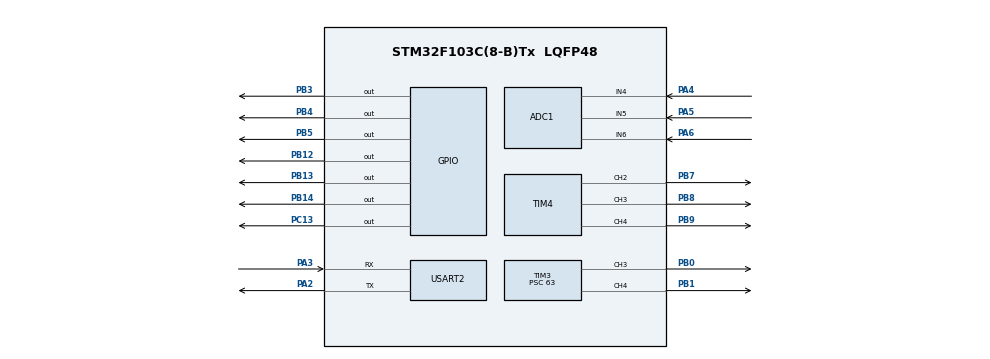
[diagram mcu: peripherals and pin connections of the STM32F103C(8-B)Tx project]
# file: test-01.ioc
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ADC1.Channel-0\#ChannelRegularConversion=ADC_CHANNEL_4
ADC1.NbrOfConversionFlag=1
ADC1.Rank-0\#ChannelRegularConversion=1
ADC1.SamplingTime-0\#ChannelRegularConversion=ADC_SAMPLETIME_1CYCLE_5
ADC1.master=1
Dma.Request0=USART2_RX
Dma.USART2_RX.0.Direction=DMA_PERIPH_TO_MEMORY
Dma.USART2_RX.0.Instance=DMA1_Channel6
Dma.USART2_RX.0.MemDataAlignment=DMA_MDATAALIGN_BYTE
Dma.USART2_RX.0.MemInc=DMA_MINC_ENABLE
Dma.USART2_RX.0.Mode=DMA_NORMAL
Dma.USART2_RX.0.PeriphDataAlignment=DMA_PDATAALIGN_BYTE
Dma.USART2_RX.0.PeriphInc=DMA_PINC_DISABLE
Dma.USART2_RX.0.Priority=DMA_PRIORITY_LOW
Mcu.Family=STM32F1
Mcu.Name=STM32F103C(8-B)Tx
Mcu.Package=LQFP48
NVIC.DMA1_Channel6_IRQn=true\:0\:0\:false\:false\:true\:false\:true\:true
NVIC.PriorityGroup=NVIC_PRIORITYGROUP_4
NVIC.USART2_IRQn=true\:0\:0\:false\:false\:true\:true\:true\:true
PA13.Mode=Serial_Wire
PA13.Signal=SYS_JTMS-SWDIO
PA14.Mode=Serial_Wire
PA14.Signal=SYS_JTCK-SWCLK
PA2.Mode=Asynchronous
PA2.Signal=USART2_TX
PA3.Mode=Asynchronous
PA3.Signal=USART2_RX
PA4.Signal=ADCx_IN4
PA5.Signal=ADCx_IN5
PA6.Signal=ADCx_IN6
PB0.Signal=S_TIM3_CH3
PB1.Signal=S_TIM3_CH4
PB12.Signal=GPIO_Output
PB13.Signal=GPIO_Output
PB14.Signal=GPIO_Output
PB3.Signal=GPIO_Output
PB4.Signal=GPIO_Output
PB5.Signal=GPIO_Output
PB7.Signal=S_TIM4_CH2
PB8.Signal=S_TIM4_CH3
PB9.Signal=S_TIM4_CH4
PC13-TAMPER-RTC.Signal=GPIO_Output
PD0-OSC_IN.Mode=HSE-External-Oscillator
PD0-OSC_IN.Signal=RCC_OSC_IN
PD1-OSC_OUT.Mode=HSE-External-Oscillator
PD1-OSC_OUT.Signal=RCC_OSC_OUT
ProjectManager.HeapSize=0x200
ProjectManager.StackSize=0x400
ProjectManager.TargetToolchain=STM32CubeIDE
RCC.APB1Freq_Value=8000000
RCC.APB2Freq_Value=8000000
SH.ADCx_IN4.0=ADC1_IN4,IN4
SH.ADCx_IN5.0=ADC1_IN5,IN5
SH.ADCx_IN6.0=ADC1_IN6,IN6
SH.S_TIM3_CH3.0=TIM3_CH3,PWM Generation3 CH3
SH.S_TIM3_CH4.0=TIM3_CH4,PWM Generation4 CH4
SH.S_TIM4_CH2.0=TIM4_CH2,PWM Generation2 CH2
SH.S_TIM4_CH3.0=TIM4_CH3,PWM Generation3 CH3
SH.S_TIM4_CH4.0=TIM4_CH4,PWM Generation4 CH4
TIM3.Channel-PWM\ Generation3\ CH3=TIM_CHANNEL_3
TIM3.Channel-PWM\ Generation4\ CH4=TIM_CHANNEL_4
TIM3.Period=9999
TIM3.Prescaler=63
TIM4.Channel-PWM\ Generation2\ CH2=TIM_CHANNEL_2
TIM4.Channel-PWM\ Generation3\ CH3=TIM_CHANNEL_3
TIM4.Channel-PWM\ Generation4\ CH4=TIM_CHANNEL_4
USART2.VirtualMode=VM_ASYNC
board=custom

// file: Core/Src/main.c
/* USER CODE BEGIN Header */
/**
  ******************************************************************************
  * @file           : main.c
  * @brief          : Main program body
  ******************************************************************************
  * @attention
  *
  * Copyright (c) 2024 STMicroelectronics.
  * All rights reserved.
  *
  * This software is licensed under terms that can be found in the LICENSE file
  * in the root directory of this software component.
  * If no LICENSE file comes with this software, it is provided AS-IS.
  *
  ******************************************************************************
  */
/* USER CODE END Header */
#include "main.h"

 ADC_HandleTypeDef hadc1;

TIM_HandleTypeDef htim3;
TIM_HandleTypeDef htim4;

UART_HandleTypeDef huart2;
DMA_HandleTypeDef hdma_usart2_rx;

void SystemClock_Config(void);
static void MX_GPIO_Init(void);
static void MX_ADC1_Init(void);
static void MX_TIM4_Init(void);
static void MX_DMA_Init(void);
static void MX_USART2_UART_Init(void);
static void MX_TIM3_Init(void);

/* USER CODE BEGIN 0 */
#define LED_ON    HAL_GPIO_WritePin(GPIOC, GPIO_PIN_13, 0)
#define LED_OFF   HAL_GPIO_WritePin(GPIOC, GPIO_PIN_13, 1)

#define MAX_SPEED 65000

#define RX2_Size 9
uint8_t Rx2_Buff[RX2_Size];

uint32_t Motor1_FB = 0;
uint32_t Motor2_FB = 0;
uint32_t Motor3_FB = 0;
int Motor4_FB = 0;
int Motor1_SP = 500;
int Motor2_SP = 2400;
int Motor3_SP = 2400;
int Motor4_SP = 0;
int Motor5_SP = 200;
int Motor6_SP = 100;
int error1 = 0;
int error2 = 0;
int error3 = 0;
int error4 = 0;
int start_time;
int count_grip = 0;

uint32_t read_adc(uint32_t channel){
	ADC_ChannelConfTypeDef sConfig = {0};
	sConfig.SamplingTime = ADC_SAMPLETIME_13CYCLES_5;
	sConfig.Channel = channel;
	sConfig.Rank = 1;
	HAL_ADC_ConfigChannel(&hadc1, &sConfig);
	HAL_ADC_Start(&hadc1);
	HAL_ADC_PollForConversion(&hadc1, HAL_MAX_DELAY);
	uint32_t val = HAL_ADC_GetValue(&hadc1);
	return val;
}

void motor1(int v){
	if(v >  MAX_SPEED)  v =  MAX_SPEED;
	if(v < -MAX_SPEED)  v = -MAX_SPEED;
	// ------------- Motor L1
	if(v >= 0){
		HAL_GPIO_WritePin(GPIOB, GPIO_PIN_4, 0);
		TIM4->CCR3 = v;
	}
	else{
		HAL_GPIO_WritePin(GPIOB, GPIO_PIN_4, 1);
		TIM4->CCR3 = v+65535;
	}
}
void motor2(int v){
	if(v >  MAX_SPEED)  v =  MAX_SPEED;
	if(v < -MAX_SPEED)  v = -MAX_SPEED;
	// ------------- Motor L1
	if(v >= 0){
		HAL_GPIO_WritePin(GPIOB, GPIO_PIN_5, 0);
		TIM4->CCR4 = v;
	}
	else{
		HAL_GPIO_WritePin(GPIOB, GPIO_PIN_5, 1);
		TIM4->CCR4 = v+65535;
	}
}

void motor3(int v){
	if(v >  MAX_SPEED)  v =  MAX_SPEED;
	if(v < -MAX_SPEED)  v = -MAX_SPEED;
	// ------------- Motor L1
	if(v >= 0){
		HAL_GPIO_WritePin(GPIOB, GPIO_PIN_3, 0);
		TIM4->CCR2 = v;
	}
	else{
		HAL_GPIO_WritePin(GPIOB, GPIO_PIN_3, 1);
		TIM4->CCR2 = v+65535;
	}
}
void motor4(int sp){
	if(sp < Motor4_FB){
		HAL_GPIO_WritePin(GPIOB, GPIO_PIN_13, 0); // ENA
		HAL_GPIO_WritePin(GPIOB, GPIO_PIN_12, 0); // DIR
		HAL_GPIO_WritePin(GPIOB, GPIO_PIN_14, 1); // PUL
		HAL_Delay(5);
		HAL_GPIO_WritePin(GPIOB, GPIO_PIN_14, 0); // PUL
		HAL_Delay(5);
		Motor4_FB--;
	}else if(sp > Motor4_FB){
		HAL_GPIO_WritePin(GPIOB, GPIO_PIN_13, 0); // ENA
		HAL_GPIO_WritePin(GPIOB, GPIO_PIN_12, 1); // DIR
		HAL_GPIO_WritePin(GPIOB, GPIO_PIN_14, 1); // PUL
		HAL_Delay(5);
		HAL_GPIO_WritePin(GPIOB, GPIO_PIN_14, 0); // PUL
		HAL_Delay(5);
		Motor4_FB++;
	}else{
		HAL_GPIO_WritePin(GPIOB, GPIO_PIN_12, 1); // DIR
		HAL_GPIO_WritePin(GPIOB, GPIO_PIN_13, 1); // ENA
		HAL_GPIO_WritePin(GPIOB, GPIO_PIN_14, 1); // PUL
	}
}
void motor5(int val){
	__HAL_TIM_SET_COMPARE(&htim3, TIM_CHANNEL_3, val);
}
void motor6(int val){
	__HAL_TIM_SET_COMPARE(&htim3, TIM_CHANNEL_4, val);
}

void HAL_GPIO_EXTI_Callback(uint16_t GPIO_Pin)
{
  if(GPIO_Pin == GPIO_PIN_0) {
	  if(!HAL_GPIO_ReadPin(GPIOA, GPIO_PIN_0)){
		  //motor1(20000);
		  Motor1_SP = 1000;
	  }
	  else {
		  Motor1_SP = 2000;
//		  motor1(0);
	  }
  } else {
	  if(!HAL_GPIO_ReadPin(GPIOA, GPIO_PIN_1)){
		  motor1(-20000);
	  }
	  else motor1(0);
  }
}
void HAL_UARTEx_RxEventCallback(UART_HandleTypeDef *huart, uint16_t Size){
	LED_ON;
	if(huart->Instance == USART2){
		if(Rx2_Buff[0] == 'A') {
		  Motor1_SP = Rx2_Buff[1]*255 + Rx2_Buff[2];
		  ////////////////
		  Motor2_SP = Rx2_Buff[3]*255 + Rx2_Buff[4];
		  ////////////////
		  Motor3_SP = Rx2_Buff[5]*255 + Rx2_Buff[6];
		  ////////////////
		  Motor4_SP = Rx2_Buff[7]*255 + Rx2_Buff[8];
		}
		if(Rx2_Buff[0] == 'S') {
			if(Rx2_Buff[1] == '1') {
				Motor5_SP = Rx2_Buff[2]*255 + Rx2_Buff[3];
			}
			if(Rx2_Buff[1] == '2') {
				Motor6_SP = Rx2_Buff[2]*255 + Rx2_Buff[3];
			}
		}
		if(Rx2_Buff[0] == 'R') {
			int8_t tx_data[] = {
				(uint8_t) Motor1_FB  >> 8, (uint8_t) Motor1_FB  & 0xFF,
				(uint8_t) Motor2_FB  >> 8, (uint8_t) Motor2_FB  & 0xFF,
				(uint8_t) Motor3_FB  >> 8, (uint8_t) Motor3_FB  & 0xFF,
				(uint8_t) Motor4_FB  >> 8, (uint8_t) Motor4_FB  & 0xFF
			};
			HAL_UART_Transmit(&huart2, tx_data, 8, PHY_FULLDUPLEX_10M);
		}
		HAL_UARTEx_ReceiveToIdle_DMA(&huart2, Rx2_Buff, RX2_Size);
		__HAL_DMA_DISABLE_IT(&hdma_usart2_rx, DMA_IT_HT);
	}
}
/* USER CODE END 0 */

int main(void)
{

  /* MCU Configuration--------------------------------------------------------*/

  /* Reset of all peripherals, Initializes the Flash interface and the Systick. */
  HAL_Init();

  /* Configure the system clock */
  SystemClock_Config();

  /* Initialize all configured peripherals */
  MX_GPIO_Init();
  MX_ADC1_Init();
  MX_TIM4_Init();
  MX_DMA_Init();
  MX_USART2_UART_Init();
  MX_TIM3_Init();
  /* USER CODE BEGIN 2 */

	HAL_TIM_PWM_Start(&htim4, TIM_CHANNEL_2);
	HAL_TIM_PWM_Start(&htim4, TIM_CHANNEL_3);
	HAL_TIM_PWM_Start(&htim4, TIM_CHANNEL_4);
	HAL_TIM_PWM_Start(&htim3, TIM_CHANNEL_3);
	HAL_TIM_PWM_Start(&htim3, TIM_CHANNEL_4);
	HAL_ADC_Start(&hadc1);
	motor1(0);
	motor2(0);
	start_time = HAL_GetTick();

	__HAL_TIM_SET_COMPARE(&htim3, TIM_CHANNEL_3, 250);
	__HAL_TIM_SET_COMPARE(&htim3, TIM_CHANNEL_4, 250);
//	  __HAL_TIM_SET_COMPARE(&htim3, TIM_CHANNEL_3, 750);
//	  __HAL_TIM_SET_COMPARE(&htim3, TIM_CHANNEL_4, 750);

	///////////////////// default
	Motor1_SP = 3800;
	Motor2_SP = 3500;
	Motor3_SP = 2000;

	///////////////////// Grab
//	Motor1_SP = 2700;
//	Motor2_SP = 1300;
//	Motor3_SP = 1100;

//	HAL_GPIO_WritePin(GPIOB, GPIO_PIN_12, 0); // DIR
//	HAL_GPIO_WritePin(GPIOB, GPIO_PIN_13, 0); // ENA
//	HAL_GPIO_WritePin(GPIOB, GPIO_PIN_14, 0); // PUL
//	for(int j = 0; j<10; j++){
//		HAL_GPIO_WritePin(GPIOB, GPIO_PIN_12, 0); // DIR
//		for(int i=0; i<50; i++){
//			HAL_GPIO_WritePin(GPIOB, GPIO_PIN_14, 1); // PUL
//			HAL_Delay(5);
//			HAL_GPIO_WritePin(GPIOB, GPIO_PIN_14, 0); // PUL
//			HAL_Delay(5);
//		}
//		HAL_GPIO_WritePin(GPIOB, GPIO_PIN_12, 1); // DIR
//		for(int i=0; i<50; i++){
//			HAL_GPIO_WritePin(GPIOB, GPIO_PIN_14, 1); // PUL
//			HAL_Delay(5);
//			HAL_GPIO_WritePin(GPIOB, GPIO_PIN_14, 0); // PUL
//			HAL_Delay(5);
//		}
//	}

	HAL_GPIO_WritePin(GPIOB, GPIO_PIN_12, 1); // DIR
	HAL_GPIO_WritePin(GPIOB, GPIO_PIN_13, 1); // ENA
	HAL_GPIO_WritePin(GPIOB, GPIO_PIN_14, 1); // PUL
	motor1(0);
	motor2(0);
	motor3(0);
	HAL_UARTEx_ReceiveToIdle_DMA(&huart2, Rx2_Buff, RX2_Size);
  __HAL_DMA_DISABLE_IT(&hdma_usart2_rx, DMA_IT_HT);
  /* USER CODE END 2 */

  /* Infinite loop */
  /* USER CODE BEGIN WHILE */
  while (1)
  {

//	  __HAL_TIM_SET_COMPARE(&htim3, TIM_CHANNEL_4, 750);
//	  HAL_Delay(3000);
//	  __HAL_TIM_SET_COMPARE(&htim3, TIM_CHANNEL_4, 250);
//	  HAL_Delay(3000);

//	  if(HAL_GetTick() - start_time > 20000){
//		  ///////////////////// default
//			Motor1_SP = 3800;
//			Motor2_SP = 3500;
//			Motor3_SP = 2000;
//		  start_time = HAL_GetTick();
//		  count_grip++;
//	  }
//	  else if(HAL_GetTick() - start_time > 7000){
//		  ///////////////////// Grab
//		  	Motor1_SP = 1600;
//		  	Motor2_SP = 2100;
//		  	Motor3_SP = 1800;
//		  if(HAL_GetTick() - start_time > 12000){
//			if(count_grip%2 == 0){
//				__HAL_TIM_SET_COMPARE(&htim3, TIM_CHANNEL_4, 750);
//			}else{
//				__HAL_TIM_SET_COMPARE(&htim3, TIM_CHANNEL_4, 250);
//			}
//		  }
//	  }
	Motor1_FB = read_adc(6);
	Motor2_FB = read_adc(5);
	Motor3_FB = read_adc(4);
	error1 = (Motor1_FB - Motor1_SP)*80;
	if(error1 > -15000 && error1 < 15000) error1 = 0;
	motor1(error1);

	error2 = -(Motor2_FB - Motor2_SP)*70;
	if(error2 > -20000 && error2 < 20000) error2 = 0;
	motor2(error2);

	error3 = (Motor3_FB - Motor3_SP)*90;
	if(error3 > -15000 && error3 < 15000) error3 = 0;
	motor3(error3);

	motor4(Motor4_SP);
	motor5(Motor5_SP);
	motor6(Motor6_SP);

    /* USER CODE END WHILE */

  }
}

void SystemClock_Config(void)
{
  RCC_OscInitTypeDef RCC_OscInitStruct = {0};
  RCC_ClkInitTypeDef RCC_ClkInitStruct = {0};
  RCC_PeriphCLKInitTypeDef PeriphClkInit = {0};

  /** Initializes the RCC Oscillators according to the specified parameters
  * in the RCC_OscInitTypeDef structure.
  */
  RCC_OscInitStruct.OscillatorType = RCC_OSCILLATORTYPE_HSI;
  RCC_OscInitStruct.HSIState = RCC_HSI_ON;
  RCC_OscInitStruct.HSICalibrationValue = RCC_HSICALIBRATION_DEFAULT;
  RCC_OscInitStruct.PLL.PLLState = RCC_PLL_NONE;
  if (HAL_RCC_OscConfig(&RCC_OscInitStruct) != HAL_OK)
  {
    Error_Handler();
  }

  /** Initializes the CPU, AHB and APB buses clocks
  */
  RCC_ClkInitStruct.ClockType = RCC_CLOCKTYPE_HCLK|RCC_CLOCKTYPE_SYSCLK
                              |RCC_CLOCKTYPE_PCLK1|RCC_CLOCKTYPE_PCLK2;
  RCC_ClkInitStruct.SYSCLKSource = RCC_SYSCLKSOURCE_HSI;
  RCC_ClkInitStruct.AHBCLKDivider = RCC_SYSCLK_DIV1;
  RCC_ClkInitStruct.APB1CLKDivider = RCC_HCLK_DIV1;
  RCC_ClkInitStruct.APB2CLKDivider = RCC_HCLK_DIV1;

  if (HAL_RCC_ClockConfig(&RCC_ClkInitStruct, FLASH_LATENCY_0) != HAL_OK)
  {
    Error_Handler();
  }
  PeriphClkInit.PeriphClockSelection = RCC_PERIPHCLK_ADC;
  PeriphClkInit.AdcClockSelection = RCC_ADCPCLK2_DIV2;
  if (HAL_RCCEx_PeriphCLKConfig(&PeriphClkInit) != HAL_OK)
  {
    Error_Handler();
  }
}

static void MX_ADC1_Init(void)
{

  ADC_ChannelConfTypeDef sConfig = {0};

  /** Common config
  */
  hadc1.Instance = ADC1;
  hadc1.Init.ScanConvMode = ADC_SCAN_DISABLE;
  hadc1.Init.ContinuousConvMode = DISABLE;
  hadc1.Init.DiscontinuousConvMode = DISABLE;
  hadc1.Init.ExternalTrigConv = ADC_SOFTWARE_START;
  hadc1.Init.DataAlign = ADC_DATAALIGN_RIGHT;
  hadc1.Init.NbrOfConversion = 1;
  if (HAL_ADC_Init(&hadc1) != HAL_OK)
  {
    Error_Handler();
  }

  /** Configure Regular Channel
  */
  sConfig.Channel = ADC_CHANNEL_4;
  sConfig.Rank = ADC_REGULAR_RANK_1;
  sConfig.SamplingTime = ADC_SAMPLETIME_1CYCLE_5;
  if (HAL_ADC_ConfigChannel(&hadc1, &sConfig) != HAL_OK)
  {
    Error_Handler();
  }

}

static void MX_TIM3_Init(void)
{

  TIM_MasterConfigTypeDef sMasterConfig = {0};
  TIM_OC_InitTypeDef sConfigOC = {0};

  htim3.Instance = TIM3;
  htim3.Init.Prescaler = 63;
  htim3.Init.CounterMode = TIM_COUNTERMODE_UP;
  htim3.Init.Period = 9999;
  htim3.Init.ClockDivision = TIM_CLOCKDIVISION_DIV1;
  htim3.Init.AutoReloadPreload = TIM_AUTORELOAD_PRELOAD_DISABLE;
  if (HAL_TIM_PWM_Init(&htim3) != HAL_OK)
  {
    Error_Handler();
  }
  sMasterConfig.MasterOutputTrigger = TIM_TRGO_RESET;
  sMasterConfig.MasterSlaveMode = TIM_MASTERSLAVEMODE_DISABLE;
  if (HAL_TIMEx_MasterConfigSynchronization(&htim3, &sMasterConfig) != HAL_OK)
  {
    Error_Handler();
  }
  sConfigOC.OCMode = TIM_OCMODE_PWM1;
  sConfigOC.Pulse = 0;
  sConfigOC.OCPolarity = TIM_OCPOLARITY_HIGH;
  sConfigOC.OCFastMode = TIM_OCFAST_DISABLE;
  if (HAL_TIM_PWM_ConfigChannel(&htim3, &sConfigOC, TIM_CHANNEL_3) != HAL_OK)
  {
    Error_Handler();
  }
  if (HAL_TIM_PWM_ConfigChannel(&htim3, &sConfigOC, TIM_CHANNEL_4) != HAL_OK)
  {
    Error_Handler();
  }
  HAL_TIM_MspPostInit(&htim3);

}

static void MX_TIM4_Init(void)
{

  TIM_MasterConfigTypeDef sMasterConfig = {0};
  TIM_OC_InitTypeDef sConfigOC = {0};

  htim4.Instance = TIM4;
  htim4.Init.Prescaler = 0;
  htim4.Init.CounterMode = TIM_COUNTERMODE_UP;
  htim4.Init.Period = 65535;
  htim4.Init.ClockDivision = TIM_CLOCKDIVISION_DIV1;
  htim4.Init.AutoReloadPreload = TIM_AUTORELOAD_PRELOAD_DISABLE;
  if (HAL_TIM_PWM_Init(&htim4) != HAL_OK)
  {
    Error_Handler();
  }
  sMasterConfig.MasterOutputTrigger = TIM_TRGO_RESET;
  sMasterConfig.MasterSlaveMode = TIM_MASTERSLAVEMODE_DISABLE;
  if (HAL_TIMEx_MasterConfigSynchronization(&htim4, &sMasterConfig) != HAL_OK)
  {
    Error_Handler();
  }
  sConfigOC.OCMode = TIM_OCMODE_PWM1;
  sConfigOC.Pulse = 0;
  sConfigOC.OCPolarity = TIM_OCPOLARITY_HIGH;
  sConfigOC.OCFastMode = TIM_OCFAST_DISABLE;
  if (HAL_TIM_PWM_ConfigChannel(&htim4, &sConfigOC, TIM_CHANNEL_2) != HAL_OK)
  {
    Error_Handler();
  }
  if (HAL_TIM_PWM_ConfigChannel(&htim4, &sConfigOC, TIM_CHANNEL_3) != HAL_OK)
  {
    Error_Handler();
  }
  if (HAL_TIM_PWM_ConfigChannel(&htim4, &sConfigOC, TIM_CHANNEL_4) != HAL_OK)
  {
    Error_Handler();
  }
  HAL_TIM_MspPostInit(&htim4);

}

static void MX_USART2_UART_Init(void)
{

  huart2.Instance = USART2;
  huart2.Init.BaudRate = 115200;
  huart2.Init.WordLength = UART_WORDLENGTH_8B;
  huart2.Init.StopBits = UART_STOPBITS_1;
  huart2.Init.Parity = UART_PARITY_NONE;
  huart2.Init.Mode = UART_MODE_TX_RX;
  huart2.Init.HwFlowCtl = UART_HWCONTROL_NONE;
  huart2.Init.OverSampling = UART_OVERSAMPLING_16;
  if (HAL_UART_Init(&huart2) != HAL_OK)
  {
    Error_Handler();
  }

}

static void MX_DMA_Init(void)
{

  /* DMA controller clock enable */
  __HAL_RCC_DMA1_CLK_ENABLE();

  /* DMA interrupt init */
  /* DMA1_Channel6_IRQn interrupt configuration */
  HAL_NVIC_SetPriority(DMA1_Channel6_IRQn, 0, 0);
  HAL_NVIC_EnableIRQ(DMA1_Channel6_IRQn);

}

static void MX_GPIO_Init(void)
{
  GPIO_InitTypeDef GPIO_InitStruct = {0};

  /* GPIO Ports Clock Enable */
  __HAL_RCC_GPIOC_CLK_ENABLE();
  __HAL_RCC_GPIOD_CLK_ENABLE();
  __HAL_RCC_GPIOA_CLK_ENABLE();
  __HAL_RCC_GPIOB_CLK_ENABLE();

  /*Configure GPIO pin Output Level */
  HAL_GPIO_WritePin(GPIOC, GPIO_PIN_13, GPIO_PIN_RESET);

  /*Configure GPIO pin Output Level */
  HAL_GPIO_WritePin(GPIOB, GPIO_PIN_12|GPIO_PIN_13|GPIO_PIN_14|GPIO_PIN_3
                          |GPIO_PIN_4|GPIO_PIN_5, GPIO_PIN_RESET);

  /*Configure GPIO pin : PC13 */
  GPIO_InitStruct.Pin = GPIO_PIN_13;
  GPIO_InitStruct.Mode = GPIO_MODE_OUTPUT_PP;
  GPIO_InitStruct.Pull = GPIO_NOPULL;
  GPIO_InitStruct.Speed = GPIO_SPEED_FREQ_LOW;
  HAL_GPIO_Init(GPIOC, &GPIO_InitStruct);

  /*Configure GPIO pins : PB12 PB13 PB14 PB3
                           PB4 PB5 */
  GPIO_InitStruct.Pin = GPIO_PIN_12|GPIO_PIN_13|GPIO_PIN_14|GPIO_PIN_3
                          |GPIO_PIN_4|GPIO_PIN_5;
  GPIO_InitStruct.Mode = GPIO_MODE_OUTPUT_PP;
  GPIO_InitStruct.Pull = GPIO_NOPULL;
  GPIO_InitStruct.Speed = GPIO_SPEED_FREQ_LOW;
  HAL_GPIO_Init(GPIOB, &GPIO_InitStruct);

}

void Error_Handler(void)
{
  __disable_irq();
  while (1)
  {
  }
}
